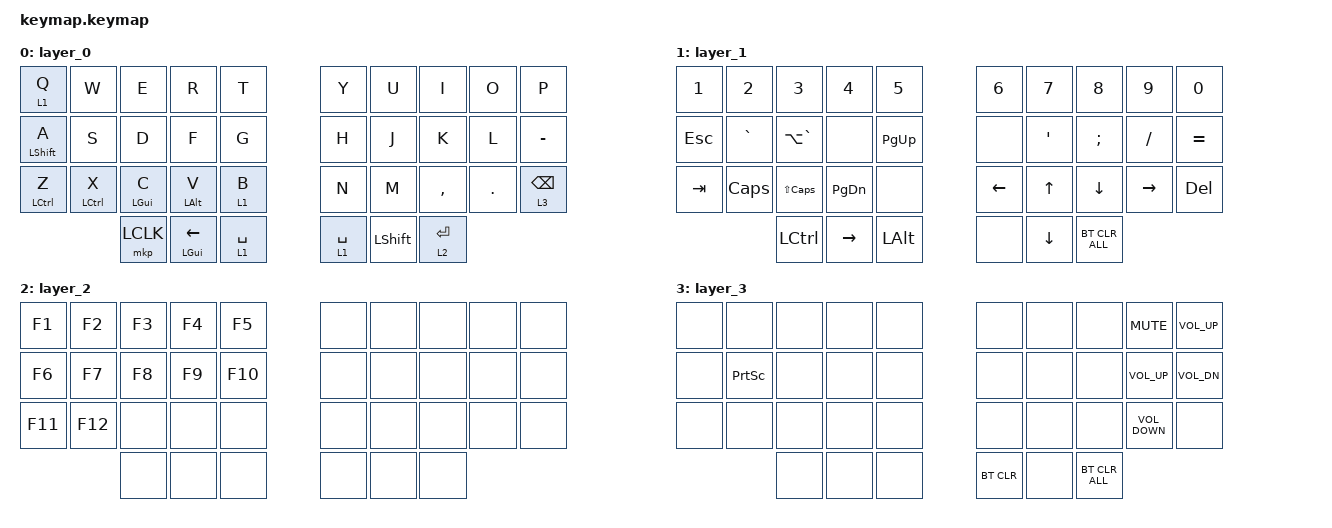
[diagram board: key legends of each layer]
#include <behaviors.dtsi>
#include <dt-bindings/zmk/bt.h>
#include <dt-bindings/zmk/keys.h>
#include <dt-bindings/zmk/pointing.h>

/ {
    combos {
        compatible = "zmk,combos";

        esc {
            bindings = <&kp ESCAPE>;
            key-positions = <0 1>;
        };

        tab {
            bindings = <&kp TAB>;
            key-positions = <10 11>;
        };

        caps {
            bindings = <&kp CAPSLOCK>;
            key-positions = <20 21>;
        };

        pgup {
            bindings = <&kp PG_UP>;
            key-positions = <5 6>;
        };

        pgdn {
            bindings = <&kp PAGE_DOWN>;
            key-positions = <15 16>;
        };

        nihongo {
            bindings = <&kp LC(CAPSLOCK)>;
            key-positions = <25 26>;
        };

        japanese {
            bindings = <&kp LA(GRAVE)>;
            key-positions = <26 27>;
        };

        midclk {
            bindings = <&mkp MCLK>;
            key-positions = <30 31>;
        };

        rclk {
            bindings = <&mkp RCLK>;
            key-positions = <31 32>;
        };
    };

    keymap {
        compatible = "zmk,keymap";

        layer_0 {
            bindings = <
&lt 1 Q           &kp W              &kp E           &kp R           &kp T    &kp Y        &kp U           &kp I        &kp O       &kp P
&mt LEFT_SHIFT A  &kp S              &kp D           &kp F           &kp G    &kp H        &kp J           &kp K        &kp L       &kp MINUS
&mt LCTRL Z       &mt LCTRL X        &mt LEFT_GUI C  &mt LEFT_ALT V  &lt 1 B  &kp N        &kp M           &kp COMMA    &kp PERIOD  &lt 3 BACKSPACE
&mkp LCLK         &mt LEFT_GUI LEFT  &lt 1 SPACE                              &lt 1 SPACE  &kp LEFT_SHIFT  &lt 2 ENTER
            >;
        };

        layer_1 {
            bindings = <
&kp NUMBER_1  &kp NUMBER_2  &kp NUMBER_3      &kp NUMBER_4   &kp N5     &kp NUMBER_6  &kp N7        &kp N8          &kp N9     &kp N0
&kp ESCAPE    &kp GRAVE     &kp LA(GRAVE)     &none          &kp PG_UP  &none         &kp SQT       &kp SEMICOLON   &kp SLASH  &kp EQUAL
&kp TAB       &kp CAPSLOCK  &kp LS(CAPSLOCK)  &kp PAGE_DOWN  &none      &kp LEFT      &kp UP_ARROW  &kp DOWN        &kp RIGHT  &kp DEL
&kp LCTRL     &kp RIGHT     &kp LEFT_ALT                                &none         &kp DOWN      &bt BT_CLR_ALL
            >;
        };

        layer_2 {
            bindings = <
&kp F1   &kp F2   &kp F3  &kp F4  &kp F5   &none  &none  &none  &none  &none
&kp F6   &kp F7   &kp F8  &kp F9  &kp F10  &none  &none  &none  &none  &none
&kp F11  &kp F12  &none   &none   &none    &none  &none  &none  &none  &none
&none    &none    &none                    &none  &none  &none
            >;
        };

        layer_3 {
            bindings = <
&none  &none            &none  &none  &none  &none       &none  &none           &kp K_MUTE         &kp C_VOLUME_UP
&none  &kp PRINTSCREEN  &none  &none  &none  &none       &none  &none           &kp K_VOLUME_UP    &kp C_VOL_DN
&none  &none            &none  &none  &none  &none       &none  &none           &kp K_VOLUME_DOWN  &none
&none  &none            &none                &bt BT_CLR  &none  &bt BT_CLR_ALL
            >;
        };
    };
};
